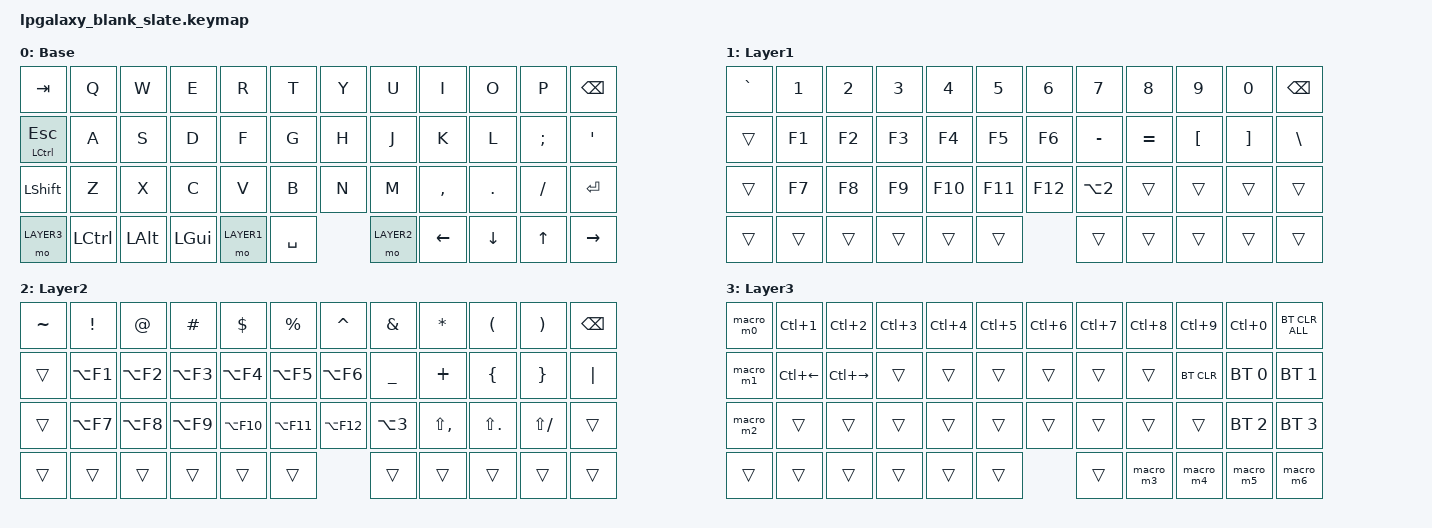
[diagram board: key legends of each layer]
/*
 * Copyright (c) 2022 Pete Johanson
 *
 * SPDX-License-Identifier: MIT
 */

#include <behaviors.dtsi>
#include <dt-bindings/zmk/keys.h>
#include <dt-bindings/zmk/bt.h>
#include <dt-bindings/zmk/outputs.h>

#define BASE 0
#define LAYER1 1
#define LAYER2 2
#define LAYER3 3

/ {
    chosen {
       zmk,physical-layout = &layout_ortho_4x12_1x2u;
    };

    macros {
        // M0: Cmd+Shift+4 (Mac screenshot)
        macro_m0: macro_m0 {
            compatible = "zmk,behavior-macro";
            label = "MACRO_M0";
            #binding-cells = <0>;
            bindings = <&kp LG(LS(N4))>;
        };
        
        // M1: Cmd+Shift+5 (Mac screen record)
        macro_m1: macro_m1 {
            compatible = "zmk,behavior-macro";
            label = "MACRO_M1";
            #binding-cells = <0>;
            bindings = <&kp LG(LS(N5))>;
        };
        
        // M2: Cmd+Shift+2
        macro_m2: macro_m2 {
            compatible = "zmk,behavior-macro";
            label = "MACRO_M2";
            #binding-cells = <0>;
            bindings = <&kp LG(LS(N2))>;
        };
        
        // M3: Cmd+[
        macro_m3: macro_m3 {
            compatible = "zmk,behavior-macro";
            label = "MACRO_M3";
            #binding-cells = <0>;
            bindings = <&kp LG(LBKT)>;
        };
        
        // M4: Alt+Shift+Down
        macro_m4: macro_m4 {
            compatible = "zmk,behavior-macro";
            label = "MACRO_M4";
            #binding-cells = <0>;
            bindings = <&kp LA(LS(DOWN))>;
        };
        
        // M5: Alt+Shift+Up
        macro_m5: macro_m5 {
            compatible = "zmk,behavior-macro";
            label = "MACRO_M5";
            #binding-cells = <0>;
            bindings = <&kp LA(LS(UP))>;
        };
        
        // M6: Cmd+]
        macro_m6: macro_m6 {
            compatible = "zmk,behavior-macro";
            label = "MACRO_M6";
            #binding-cells = <0>;
            bindings = <&kp LG(RBKT)>;
        };
    };

    keymap {
        compatible = "zmk,keymap";

        base_layer {
            label = "Base";
            bindings = <
 &kp TAB       &kp Q      &kp W      &kp E       &kp R          &kp T          &kp Y            &kp U          &kp I       &kp O      &kp P         &kp BKSP
 &mt LCTRL ESC &kp A      &kp S      &kp D       &kp F          &kp G          &kp H            &kp J          &kp K       &kp L      &kp SEMI      &kp QUOT
 &kp LSHFT     &kp Z      &kp X      &kp C       &kp V          &kp B          &kp N            &kp M          &kp COMMA   &kp DOT    &kp FSLH      &kp RET
 &mo LAYER3    &kp LCTRL  &kp LALT   &kp LGUI    &mo LAYER1          &kp SPACE                  &mo LAYER2      &kp LEFT    &kp DOWN   &kp UP        &kp RIGHT
            >;
        };

        layer_1 {
            label = "Layer1";
            bindings = <
 &kp GRAVE  &kp N1     &kp N2     &kp N3      &kp N4          &kp N5       &kp N6     &kp N7         &kp N8      &kp N9     &kp N0     &kp BKSP
 &trans     &kp F1     &kp F2     &kp F3      &kp F4          &kp F5       &kp F6     &kp MINUS      &kp EQUAL   &kp LBKT   &kp RBKT   &kp BSLH
 &trans     &kp F7     &kp F8     &kp F9      &kp F10         &kp F11      &kp F12    &kp LA(N2)     &trans      &trans     &trans     &trans
 &trans     &trans     &trans     &trans      &trans              &trans              &trans         &trans      &trans     &trans     &trans
            >;
        };

        layer_2 {
            label = "Layer2";
            bindings = <
 &kp TILDE     &kp EXCL     &kp AT       &kp HASH     &kp DLLR      &kp PRCNT    &kp CARET   &kp AMPS       &kp STAR         &kp LPAR     &kp RPAR         &kp BKSP
 &trans        &kp LA(F1)   &kp LA(F2)   &kp LA(F3)   &kp LA(F4)    &kp LA(F5)   &kp LA(F6)  &kp UNDER      &kp PLUS         &kp LBRC     &kp RBRC         &kp PIPE
 &trans        &kp LA(F7)   &kp LA(F8)   &kp LA(F9)   &kp LA(F10)   &kp LA(F11)  &kp LA(F12) &kp LA(N3)     &kp LS(COMMA)    &kp LS(DOT)  &kp LS(FSLH)     &trans
 &trans        &trans       &trans       &trans       &trans              &trans             &trans         &trans           &trans       &trans           &trans
            >;
        };

        layer_3 {
            label = "Layer3";
            bindings = <
 &macro_m0  &kp LC(N1)   &kp LC(N2)   &kp LC(N3)   &kp LC(N4)    &kp LC(N5)   &kp LC(N6)  &kp LC(N7)     &kp LC(N8)   &kp LC(N9)   &kp LC(N0)   &bt BT_CLR_ALL
 &macro_m1  &kp LC(LEFT) &kp LC(RIGHT) &trans      &trans        &trans       &trans      &trans         &trans       &bt BT_CLR       &bt BT_SEL 0       &bt BT_SEL 1
 &macro_m2  &trans       &trans       &trans       &trans        &trans       &trans      &trans         &trans       &trans       &bt BT_SEL 2       &bt BT_SEL 3
 &trans     &trans       &trans       &trans       &trans             &trans                   &trans         &macro_m3    &macro_m4    &macro_m5    &macro_m6
            >;
        };
    };
};
